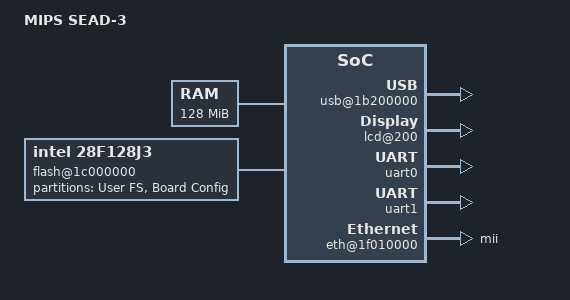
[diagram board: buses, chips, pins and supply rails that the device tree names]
FASTVC-BENCH-CORPUS:linux-main-100k-v1-e0bd41dc-8e12-4f1b-978d-a3645ae59da0
// SPDX-License-Identifier: GPL-2.0
/dts-v1/;

/memreserve/ 0x00000000 0x00001000;	// reserved
/memreserve/ 0x00001000 0x000ef000;	// ROM data
/memreserve/ 0x000f0000 0x004cc000;	// reserved

#include <dt-bindings/interrupt-controller/mips-gic.h>

/ {
	#address-cells = <1>;
	#size-cells = <1>;
	compatible = "mti,sead-3";
	model = "MIPS SEAD-3";

	chosen {
		stdout-path = "serial1:115200";
	};

	aliases {
/* bench 21066.0.0 546844b76b5b */
/* bench 21066.0.1 d0cb10042f6a */
/* bench 21066.0.2 23daf05bba49 */
/* bench 21066.0.3 2e26f21eab7f */
/* bench 21066.0.4 f1d3dd096765 */
/* bench 21066.0.5 1e00cd376b77 */
/* bench 21066.0.6 a9a3112383bd */
/* bench 21066.0.7 21a6b7815127 */
/* bench 21066.0.8 63dd6bf25f9c */
/* bench 21066.0.9 b64106727c44 */
/* bench 21066.0.10 bf8ac6ae81e9 */
	};

	cpus {
		cpu@0 {
			compatible = "mti,mips14KEc", "mti,mips14Kc";
		};
	};

	memory {
		device_type = "memory";
		reg = <0x0 0x08000000>;
	};

	cpu_intc: interrupt-controller {
		compatible = "mti,cpu-interrupt-controller";

		interrupt-controller;
		#interrupt-cells = <1>;
	};

	gic: interrupt-controller@1b1c0000 {
		compatible = "mti,gic";
		reg = <0x1b1c0000 0x20000>;

		interrupt-controller;
		#interrupt-cells = <3>;

		/*
		 * Declare the interrupt-parent even though the mti,gic
		 * binding doesn't require it, such that the kernel can
		 * figure out that cpu_intc is the root interrupt
		 * controller & should be probed first.
		 */
		interrupt-parent = <&cpu_intc>;
	};

	usb@1b200000 {
		compatible = "generic-ehci";
		reg = <0x1b200000 0x1000>;

		interrupt-parent = <&gic>;
		interrupts = <GIC_SHARED 0 IRQ_TYPE_LEVEL_HIGH>; /* GIC 0 or CPU 6 */

		has-transaction-translator;
	};

	flash@1c000000 {
		compatible = "intel,28f128j3", "cfi-flash";
		reg = <0x1c000000 0x2000000>;
		#address-cells = <1>;
		#size-cells = <1>;
		bank-width = <4>;

		partitions {
			compatible = "fixed-partitions";
			#address-cells = <1>;
			#size-cells = <1>;

			user-fs@0 {
				label = "User FS";
				reg = <0x0 0x1fc0000>;
			};
/* bench 235.2.0 0d6a13e77f22 */
/* bench 235.2.1 20d86594014c */
/* bench 235.2.2 6aaea1008e88 */
/* bench 235.2.3 f66d1d594e7e */
/* bench 235.2.4 ac2c76b63ac5 */
/* bench 235.2.5 6caeecdc0726 */
/* bench 235.2.6 04b757753d78 */
/* bench 235.2.7 ce5b26cb8cab */
/* bench 235.2.8 f338b4cce192 */
/* bench 235.2.9 fa685d455c61 */
/* bench 235.2.10 66375a9b4ab8 */

			board-config@3e0000 {
				label = "Board Config";
				reg = <0x1fc0000 0x40000>;
			};
		};
	};

	fpga_regs: system-controller@1f000000 {
		compatible = "mti,sead3-fpga", "syscon", "simple-mfd";
		reg = <0x1f000000 0x200>;

		reboot {
			compatible = "syscon-reboot";
			regmap = <&fpga_regs>;
			offset = <0x50>;
			mask = <0x4d>;
		};

		poweroff {
			compatible = "restart-poweroff";
		};
	};

	system-controller@1f000200 {
		compatible = "mti,sead3-cpld", "syscon", "simple-mfd";
		reg = <0x1f000200 0x300>;

		led@10.0 {
			compatible = "register-bit-led";
			offset = <0x10>;
			mask = <0x1>;
			label = "pled0";
		};
		led@10.1 {
			compatible = "register-bit-led";
			offset = <0x10>;
			mask = <0x2>;
			label = "pled1";
		};
		led@10.2 {
			compatible = "register-bit-led";
			offset = <0x10>;
			mask = <0x4>;
			label = "pled2";
		};
		led@10.3 {
			compatible = "register-bit-led";
			offset = <0x10>;
			mask = <0x8>;
			label = "pled3";
		};
		led@10.4 {
			compatible = "register-bit-led";
			offset = <0x10>;
			mask = <0x10>;
			label = "pled4";
		};
		led@10.5 {
			compatible = "register-bit-led";
			offset = <0x10>;
			mask = <0x20>;
			label = "pled5";
		};
		led@10.6 {
			compatible = "register-bit-led";
			offset = <0x10>;
			mask = <0x40>;
			label = "pled6";
		};
		led@10.7 {
			compatible = "register-bit-led";
			offset = <0x10>;
			mask = <0x80>;
			label = "pled7";
		};

		led@18.0 {
			compatible = "register-bit-led";
			offset = <0x18>;
			mask = <0x1>;
			label = "fled0";
		};
		led@18.1 {
			compatible = "register-bit-led";
			offset = <0x18>;
			mask = <0x2>;
			label = "fled1";
		};
		led@18.2 {
			compatible = "register-bit-led";
			offset = <0x18>;
			mask = <0x4>;
			label = "fled2";
		};
		led@18.3 {
			compatible = "register-bit-led";
			offset = <0x18>;
			mask = <0x8>;
			label = "fled3";
		};
		led@18.4 {
			compatible = "register-bit-led";
			offset = <0x18>;
			mask = <0x10>;
			label = "fled4";
		};
		led@18.5 {
			compatible = "register-bit-led";
			offset = <0x18>;
			mask = <0x20>;
			label = "fled5";
		};
		led@18.6 {
			compatible = "register-bit-led";
			offset = <0x18>;
			mask = <0x40>;
			label = "fled6";
		};
		led@18.7 {
			compatible = "register-bit-led";
			offset = <0x18>;
			mask = <0x80>;
			label = "fled7";
		};

		lcd@200 {
			compatible = "mti,sead3-lcd";
			offset = <0x200>;
		};
	};

	/* UART connected to FTDI & miniUSB socket */
	uart0: uart@1f000900 {
		compatible = "ns16550a";
		reg = <0x1f000900 0x20>;
		reg-io-width = <4>;
		reg-shift = <2>;

		clock-frequency = <14745600>;

		interrupt-parent = <&gic>;
		interrupts = <GIC_SHARED 3 IRQ_TYPE_LEVEL_HIGH>; /* GIC 3 or CPU 4 */

		no-loopback-test;
	};

	/* UART connected to RS232 socket */
	uart1: uart@1f000800 {
		compatible = "ns16550a";
		reg = <0x1f000800 0x20>;
		reg-io-width = <4>;
		reg-shift = <2>;

		clock-frequency = <14745600>;

		interrupt-parent = <&gic>;
		interrupts = <GIC_SHARED 2 IRQ_TYPE_LEVEL_HIGH>; /* GIC 2 or CPU 4 */

		no-loopback-test;
	};

	eth@1f010000 {
		compatible = "smsc,lan9115";
		reg = <0x1f010000 0x10000>;
		reg-io-width = <4>;

		interrupt-parent = <&gic>;
		interrupts = <GIC_SHARED 0 IRQ_TYPE_LEVEL_HIGH>; /* GIC 0 or CPU 6 */

		phy-mode = "mii";
		smsc,irq-push-pull;
		smsc,save-mac-address;
	};
};
